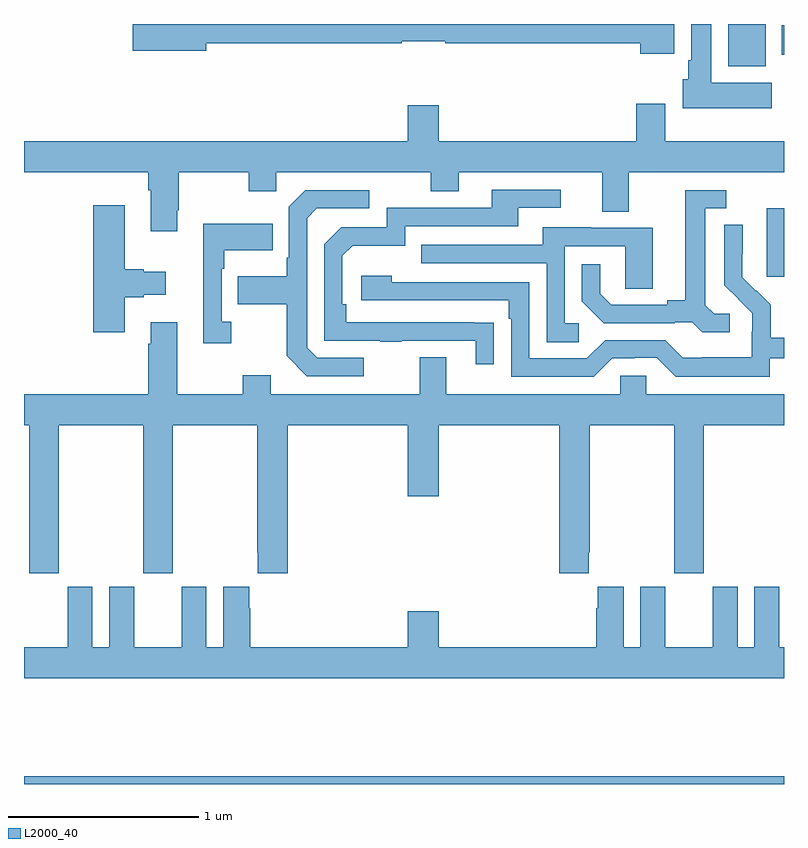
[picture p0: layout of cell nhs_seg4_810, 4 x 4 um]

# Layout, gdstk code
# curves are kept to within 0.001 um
import gdstk
lib = gdstk.Library(unit=1e-6, precision=1e-09)
def R(c, l, rs):  # rectangles x0, y0, x1, y1
    for r in rs: c.add(gdstk.rectangle(r[:2], r[2:], *l))
def P(c, l, *ps):  # polygons
    for p in ps: c.add(gdstk.Polygon(p, *l))
L2000_40 = (2000, 40)

nhs_seg4_810 = lib.new_cell('nhs_seg4_810')
R(nhs_seg4_810, L2000_40, [(151,826.9,155,826.94), (154.91,829.569,155,829.93), (154.706,830.678,154.903,830.9), (154.988,830.737,155,830.893)])
P(nhs_seg4_810, L2000_40, [(154.936,830.59),(154.618,830.59),(154.618,830.9),(154.511,830.9),(154.511,830.71),(154.496,830.71),(154.496,830.61),(154.466,830.61),(154.466,830.456),(154.936,830.456)],
  [(154.423,830.9),(151.572,830.9),(151.572,830.758),(151.96,830.758),(151.96,830.8),(152.987,830.8),(152.987,830.808),(153.217,830.808),(153.217,830.8),(154.244,830.8),(154.244,830.744),(154.423,830.744)],
  [(151,830.12),(151.655,830.12),(151.655,830.024),(151.667,830.024),(151.667,829.809),(151.807,829.809),(151.807,829.921),(151.815,829.921),(151.815,830.12),(152.182,830.12),(152.182,830.021),(152.328,830.021),(152.328,830.12),(153.142,830.12),(153.142,830.021),(153.289,830.021),(153.289,830.12),(154.043,830.12),(154.043,829.912),(154.183,829.912),(154.183,830.12),(155,830.12),(155,830.284),(154.375,830.284),(154.375,830.479),(154.223,830.479),(154.223,830.284),(153.184,830.284),(153.184,830.473),(153.02,830.473),(153.02,830.284),(151,830.284)],
  [(153.473,829.328),(152.696,829.329),(152.696,829.426),(152.676,829.426),(152.676,829.68),(152.729,829.733),(153.006,829.733),(153.006,829.836),(153.601,829.836),(153.601,829.932),(153.826,829.932),(153.826,830.028),(153.461,830.028),(153.461,829.932),(152.91,829.932),(152.91,829.83),(152.67,829.83),(152.58,829.74),(152.58,829.233),(152.875,829.233),(152.875,829.228),(152.987,829.228),(152.987,829.233),(153.377,829.233),(153.377,829.11),(153.473,829.11)],
  [(154.714,829.374),(154.632,829.374),(154.585,829.421),(154.585,829.929),(154.696,829.929),(154.696,830.025),(154.481,830.025),(154.481,829.445),(154.385,829.445),(154.385,829.422),(154.09,829.422),(154.033,829.479),(154.033,829.636),(153.936,829.636),(153.936,829.442),(154.052,829.326),(154.424,829.326),(154.424,829.329),(154.518,829.329),(154.57,829.277),(154.714,829.277)],
  [(152.788,829.143),(152.544,829.143),(152.49,829.197),(152.49,829.878),(152.541,829.929),(152.818,829.929),(152.818,830.025),(152.481,830.025),(152.394,829.938),(152.394,829.669),(152.382,829.669),(152.382,829.573),(152.125,829.573),(152.125,829.426),(152.382,829.426),(152.382,829.153),(152.487,829.047),(152.788,829.047)],
  [(151.531,829.463),(151.631,829.463),(151.631,829.475),(151.747,829.475),(151.747,829.597),(151.631,829.597),(151.631,829.61),(151.531,829.61),(151.531,829.945),(151.364,829.945),(151.364,829.278),(151.531,829.278)],
  [(152.092,829.334),(152.04,829.334),(152.04,829.613),(152.053,829.613),(152.053,829.709),(152.309,829.709),(152.309,829.849),(151.943,829.849),(151.943,829.221),(152.092,829.221)],
  [(154.926,829.14),(155,829.14),(155,829.249),(154.931,829.249),(154.931,829.423),(154.854,829.5),(154.851,829.497),(154.781,829.568),(154.782,829.844),(154.686,829.844),(154.686,829.526),(154.832,829.378),(154.832,829.281),(154.83,829.281),(154.83,829.147),(154.567,829.147),(154.567,829.143),(154.467,829.143),(154.374,829.236),(154.059,829.236),(153.963,829.14),(153.66,829.14),(153.66,829.542),(152.936,829.542),(152.936,829.576),(152.775,829.576),(152.775,829.446),(153.551,829.446),(153.551,829.349),(153.564,829.349),(153.564,829.044),(153.999,829.044),(154.095,829.14),(154.214,829.14),(154.214,829.143),(154.329,829.143),(154.429,829.043),(154.926,829.043)],
  [(153.919,829.326),(153.846,829.326),(153.846,829.731),(154.164,829.731),(154.164,829.507),(154.309,829.507),(154.309,829.827),(153.985,829.827),(153.985,829.831),(153.731,829.831),(153.731,829.737),(153.091,829.737),(153.091,829.641),(153.75,829.641),(153.75,829.225),(153.919,829.225)],
  [(152.227,828.121),(152.231,828.121),(152.231,828.009),(152.387,828.009),(152.387,828.788),(153.02,828.788),(153.02,828.414),(153.184,828.414),(153.184,828.788),(153.818,828.788),(153.818,828.009),(153.973,828.009),(153.973,828.121),(153.978,828.121),(153.978,828.788),(154.423,828.788),(154.423,828.009),(154.578,828.009),(154.578,828.788),(155,828.788),(155,828.952),(154.275,828.952),(154.275,829.05),(154.137,829.05),(154.137,828.952),(153.223,828.952),(153.223,829.147),(153.083,829.147),(153.083,828.952),(152.299,828.952),(152.299,829.051),(152.152,829.051),(152.152,828.952),(151.807,828.952),(151.807,829.33),(151.667,829.33),(151.667,829.217),(151.655,829.217),(151.655,828.952),(151,828.952),(151,828.788),(151.027,828.788),(151.027,828.009),(151.182,828.009),(151.182,828.788),(151.627,828.788),(151.627,828.009),(151.782,828.009),(151.782,828.788),(152.227,828.788)],
  [(155,827.62),(154.975,827.62),(154.975,827.938),(154.844,827.938),(154.844,827.62),(154.756,827.62),(154.756,827.938),(154.625,827.938),(154.625,827.62),(154.375,827.62),(154.375,827.938),(154.244,827.938),(154.244,827.62),(154.156,827.62),(154.156,827.938),(154.019,827.938),(154.019,827.825),(154.013,827.825),(154.013,827.62),(153.184,827.62),(153.184,827.809),(153.02,827.809),(153.02,827.62),(152.192,827.62),(152.192,827.825),(152.185,827.825),(152.185,827.938),(152.048,827.938),(152.048,827.62),(151.96,827.62),(151.96,827.938),(151.829,827.938),(151.829,827.62),(151.579,827.62),(151.579,827.938),(151.448,827.938),(151.448,827.62),(151.36,827.62),(151.36,827.938),(151.229,827.938),(151.229,827.62),(151,827.62),(151,827.456),(155,827.456)])

lib.write_gds('nhs_seg4_810.gds')
